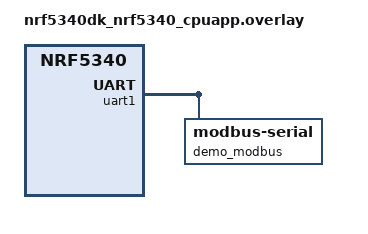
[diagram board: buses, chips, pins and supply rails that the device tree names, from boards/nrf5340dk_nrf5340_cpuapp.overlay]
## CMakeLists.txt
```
cmake_minimum_required(VERSION 3.20.0)

set(CONF_FILE
  "${CMAKE_CURRENT_SOURCE_DIR}/prj.conf"
  "${CMAKE_CURRENT_SOURCE_DIR}/../DTMC_ZEPHYR_DTIOX_MODBUS_COMMON.conf"
)

find_package(Zephyr REQUIRED HINTS $ENV{ZEPHYR_BASE})

project(app_zephyr)

set(DTCORE_LIBRARY        ${CMAKE_CURRENT_SOURCE_DIR}/../../dtcore_library)
set(DTMC_BASE_LIBRARY     ${CMAKE_CURRENT_SOURCE_DIR}/../../dtmc_base_library)
set(DTMC_BASE_DEMOS       ${CMAKE_CURRENT_SOURCE_DIR}/../../dtmc_base_demos)
set(DTMC_ZEPHYR_LIBRARY   ${CMAKE_CURRENT_SOURCE_DIR}/../../dtmc_zephyr_library)

# Bring in external object libraries
add_subdirectory(${DTCORE_LIBRARY}        ${CMAKE_BINARY_DIR}/dtcore_library)
add_subdirectory(${DTMC_BASE_LIBRARY}     ${CMAKE_BINARY_DIR}/dtmc_base_library)
add_subdirectory(${DTMC_BASE_DEMOS}       ${CMAKE_BINARY_DIR}/dtmc_base_demos)
add_subdirectory(${DTMC_ZEPHYR_LIBRARY}   ${CMAKE_BINARY_DIR}/dtmc_zephyr_library)

target_include_directories(app PRIVATE
    ${DTCORE_LIBRARY}/include
    ${DTMC_BASE_LIBRARY}/include
    ${DTMC_BASE_DEMOS}/include
    ${DTMC_ZEPHYR_LIBRARY}/include
)

# Use the Zephyr build target (called 'app') – this is created implicitly
target_sources(app PRIVATE
    src/main.c
)
```

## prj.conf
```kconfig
# ---- newlib configuration
CONFIG_NEWLIB_LIBC=y
# without this, PRIu64 doesn't work in printf or printk
CONFIG_NEWLIB_LIBC_NANO=n
# enable float support in printf, adds 1-2kB to the binary
CONFIG_NEWLIB_LIBC_FLOAT_PRINTF=y

# ---- console configuration
CONFIG_STDOUT_CONSOLE=y
CONFIG_SERIAL=y
CONFIG_CONSOLE=y
CONFIG_UART_CONSOLE=y

# ---- logging
CONFIG_LOG=y
CONFIG_LOG_BACKEND_SHOW_COLOR=n
CONFIG_LOG_MODE_IMMEDIATE=y
CONFIG_LOG_DEFAULT_LEVEL=3

# ---- memory configuration
# our dtlog uses at least 1k
CONFIG_MAIN_STACK_SIZE=4096
CONFIG_HEAP_MEM_POOL_SIZE=32768

# ---- kernel configuration
CONFIG_EVENTS=y
CONFIG_KERNEL_SHELL=y

# ---- system clock configuration
# makes Zephyr tick every 1 ms instead of the default 100 Hz (10 ms)
CONFIG_SYS_CLOCK_EXISTS=y
CONFIG_SYS_CLOCK_TICKS_PER_SEC=1000

# ---- thread monitoring and analysis
# CONFIG_THREAD_ANALYZER selects INIT_STACKS, THREAD_MONITOR, THREAD_STACK_INFO, THREAD_RUNTIME_STATS
CONFIG_THREAD_ANALYZER=y
CONFIG_THREAD_NAME=y
CONFIG_THREAD_ANALYZER_AUTO=n

# ==== stack overflow detection and diagnostics
CONFIG_STACK_SENTINEL=y
CONFIG_STACK_CANARIES=y

# ---- modbus configuration
# see DTMC_ZEPHYR_DTXIO_MODBUS_COMMON.conf included by CMakeLists.txt

# ---- modbus configuration     
CONFIG_MODBUS=y
CONFIG_MODBUS_ROLE_CLIENT_SERVER=y
CONFIG_MODBUS_SERIAL=y
```

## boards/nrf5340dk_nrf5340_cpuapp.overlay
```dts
/* a second UART (uart1) on Tx=P1.01 Rx=P1.00 */
&uart1 {
    label = "demo_uart";
    status = "okay";

    demo_modbus: modbus {
        compatible = "zephyr,modbus-serial";
        status = "okay";
        label = "demo_modbus"; /* <-- THIS is what modbus_iface_get_by_name() will match */
    };
};
```

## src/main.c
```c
#include <dtcore/dterr.h>

#include <dtcore/dtlog.h>
#include <dtcore/dtstr.h>

#include <dtmc_base/dtiox.h>
#include <dtmc_base/dtruntime.h>
#include <dtmc_base/dtuart_helpers.h>
#include <dtmc_base_demos/demo_iox.h>

#include <dtmc/dtiox_zephyr_modbus_slave.h>

#define TAG "main"

// --------------------------------------------------------------------------------------
int
main(int argc, char* argv[])
{
    dterr_t* dterr = NULL;
    dtiox_handle iox_handle = NULL;
    demo_t* demo = NULL;

    // === create the concrete IOX object we need ===
    {
        dtiox_zephyr_modbus_slave_t* o = NULL;
        DTERR_C(dtiox_zephyr_modbus_slave_create(&o));
        iox_handle = (dtiox_handle)o;
        dtiox_zephyr_modbus_slave_config_t c = { 0 };
        c.device_tree_name = "demo_modbus";
        c.unit_id = 1;
        c.uart_config = dtuart_helper_default_config;
        c.rx_ring_capacity = 128;

        DTERR_C(dtiox_zephyr_modbus_slave_configure(o, &c));
    }

    // === create and configure the demo instance ===
    {
        DTERR_C(demo_create(&demo));
        demo_config_t c = { 0 };
        c.iox_handle = iox_handle;
        c.node_name = "dtmc_zephyr/demo_modbus/slave";
        DTERR_C(demo_configure(demo, &c));
    }

    // === start the demo ===
    DTERR_C(demo_start(demo));

cleanup:
    int rc = (dterr != NULL) ? -1 : 0;

    // log and dispose error chain if any
    dtlog_dterr(TAG, dterr);
    dterr_dispose(dterr);

    // dispose the demo instance
    demo_dispose(demo);

    // dispose the UART instance
    dtiox_dispose(iox_handle);

    return rc;
}
```
